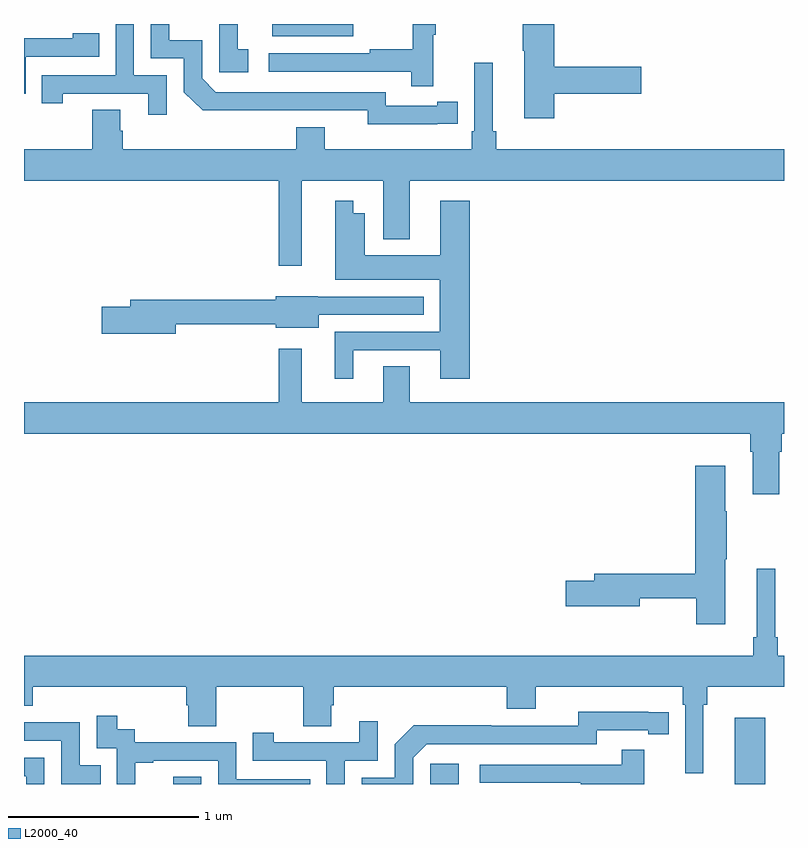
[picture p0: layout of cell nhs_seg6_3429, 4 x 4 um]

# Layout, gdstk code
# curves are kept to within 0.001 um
import gdstk
lib = gdstk.Library(unit=1e-6, precision=1e-09)
def R(c, l, rs):  # rectangles x0, y0, x1, y1
    for r in rs: c.add(gdstk.rectangle(r[:2], r[2:], *l))
def P(c, l, *ps):  # polygons
    for p in ps: c.add(gdstk.Polygon(p, *l))
L2000_40 = (2000, 40)

nhs_seg6_3429 = lib.new_cell('nhs_seg6_3429')
R(nhs_seg6_3429, L2000_40, [(313.785,937.5,313.932,937.537), (315.138,937.5,315.289,937.606), (316.742,937.5,316.901,937.849), (314.306,941.435,314.734,941.5)])
P(nhs_seg6_3429, L2000_40, [(315.176,940.974),(315.284,940.974),(315.284,941.09),(315.176,941.09),(315.176,941.07),(314.904,941.07),(314.904,941.142),(314.01,941.142),(313.938,941.214),(313.938,941.415),(313.765,941.415),(313.765,941.5),(313.668,941.5),(313.668,941.319),(313.842,941.319),(313.842,941.142),(313.94,941.045),(314.808,941.046),(314.808,940.973)],
  [(315.155,941.443),(315.166,941.443),(315.166,941.5),(315.045,941.5),(315.045,941.366),(314.821,941.366),(314.821,941.346),(314.289,941.346),(314.289,941.25),(315.037,941.25),(315.037,941.172),(315.155,941.172)],
  [(314.179,941.367),(314.126,941.367),(314.126,941.5),(314.028,941.5),(314.028,941.247),(314.179,941.247)],
  [(313.752,941.229),(313.578,941.229),(313.578,941.5),(313.482,941.5),(313.482,941.229),(313.093,941.229),(313.093,941.082),(313.204,941.082),(313.204,941.133),(313.655,941.133),(313.655,941.022),(313.752,941.022)],
  [(315.791,941.134),(316.249,941.134),(316.249,941.276),(315.791,941.276),(315.791,941.5),(315.625,941.5),(315.625,941.359),(315.632,941.359),(315.632,941.004),(315.791,941.004)],
  [(313.008,941.328),(313.397,941.328),(313.397,941.451),(313.257,941.451),(313.257,941.424),(313,941.424),(313,941.133),(313.008,941.133)],
  [(314.461,940.676),(314.891,940.676),(314.891,940.367),(315.031,940.367),(315.031,940.676),(317,940.676),(317,940.84),(315.485,940.84),(315.485,940.936),(315.466,940.936),(315.466,941.296),(315.369,941.296),(315.369,940.936),(315.356,940.936),(315.356,940.84),(314.584,940.84),(314.584,940.957),(314.432,940.957),(314.432,940.84),(313.52,940.84),(313.52,940.938),(313.507,940.938),(313.507,941.048),(313.36,941.048),(313.36,940.84),(313,940.84),(313,940.676),(314.34,940.676),(314.34,940.227),(314.461,940.227)],
  [(314.734,939.783),(315.191,939.783),(315.191,939.633),(315.347,939.633),(315.347,940.57),(315.191,940.57),(315.191,940.282),(314.794,940.282),(314.794,940.504),(314.734,940.504),(314.734,940.57),(314.637,940.57),(314.637,940.154),(315.188,940.154),(315.188,939.879),(314.636,939.879),(314.636,939.633),(314.734,939.633)],
  [(313.798,939.921),(314.324,939.921),(314.324,939.902),(314.551,939.902),(314.551,939.969),(315.103,939.969),(315.103,940.065),(314.547,940.065),(314.547,940.066),(314.324,940.066),(314.324,940.049),(313.559,940.049),(313.559,940.013),(313.41,940.013),(313.41,939.871),(313.798,939.871)],
  [(316.975,939.248),(316.988,939.248),(316.988,939.344),(317,939.344),(317,939.508),(315.031,939.508),(315.031,939.698),(314.891,939.698),(314.891,939.508),(314.461,939.508),(314.461,939.79),(314.34,939.79),(314.34,939.508),(313,939.508),(313,939.344),(316.823,939.344),(316.823,939.248),(316.835,939.248),(316.835,939.024),(316.975,939.024)],
  [(316.69,938.683),(316.698,938.683),(316.698,938.936),(316.69,938.936),(316.69,939.175),(316.532,939.175),(316.532,938.606),(316.001,938.606),(316.001,938.57),(315.852,938.57),(315.852,938.435),(316.24,938.435),(316.24,938.478),(316.537,938.478),(316.537,938.34),(316.69,938.34)],
  [(316.576,937.916),(316.595,937.916),(316.595,938.012),(317,938.012),(317,938.176),(316.967,938.176),(316.967,938.272),(316.953,938.272),(316.953,938.632),(316.856,938.632),(316.856,938.272),(316.837,938.272),(316.837,938.176),(313,938.176),(313,937.913),(313.046,937.913),(313.046,938.012),(313.853,938.012),(313.853,937.914),(313.865,937.914),(313.865,937.804),(314.013,937.804),(314.013,938.012),(314.47,938.012),(314.47,937.804),(314.617,937.804),(314.617,937.914),(314.63,937.914),(314.63,938.012),(315.542,938.012),(315.542,937.895),(315.694,937.895),(315.694,938.012),(316.466,938.012),(316.466,937.916),(316.479,937.916),(316.479,937.557),(316.576,937.557)],
  [(315.048,937.638),(315.12,937.71),(316.014,937.71),(316.014,937.782),(316.286,937.782),(316.286,937.762),(316.394,937.762),(316.394,937.878),(315.918,937.879),(315.918,937.806),(315.458,937.806),(315.458,937.808),(315.05,937.808),(314.952,937.71),(314.952,937.533),(314.778,937.533),(314.778,937.5),(315.048,937.5)],
  [(313.586,937.611),(313.681,937.611),(313.681,937.623),(314.022,937.623),(314.022,937.5),(314.507,937.5),(314.507,937.524),(314.118,937.524),(314.118,937.719),(313.584,937.719),(313.584,937.788),(313.492,937.788),(313.492,937.858),(313.383,937.858),(313.383,937.689),(313.488,937.689),(313.488,937.5),(313.586,937.5)],
  [(314.688,937.623),(314.862,937.623),(314.862,937.831),(314.765,937.831),(314.765,937.719),(314.314,937.719),(314.314,937.771),(314.203,937.771),(314.203,937.623),(314.592,937.623),(314.592,937.5),(314.688,937.5)],
  [(313.403,937.599),(313.293,937.599),(313.293,937.824),(313,937.824),(313,937.728),(313.197,937.728),(313.197,937.5),(313.403,937.5)],
  [(316.265,937.681),(316.147,937.681),(316.147,937.602),(315.399,937.602),(315.399,937.506),(315.931,937.506),(315.931,937.5),(316.265,937.5)],
  [(313.107,937.638),(313,937.638),(313,937.542),(313.011,937.542),(313.011,937.5),(313.107,937.5)])

lib.write_gds('nhs_seg6_3429.gds')
